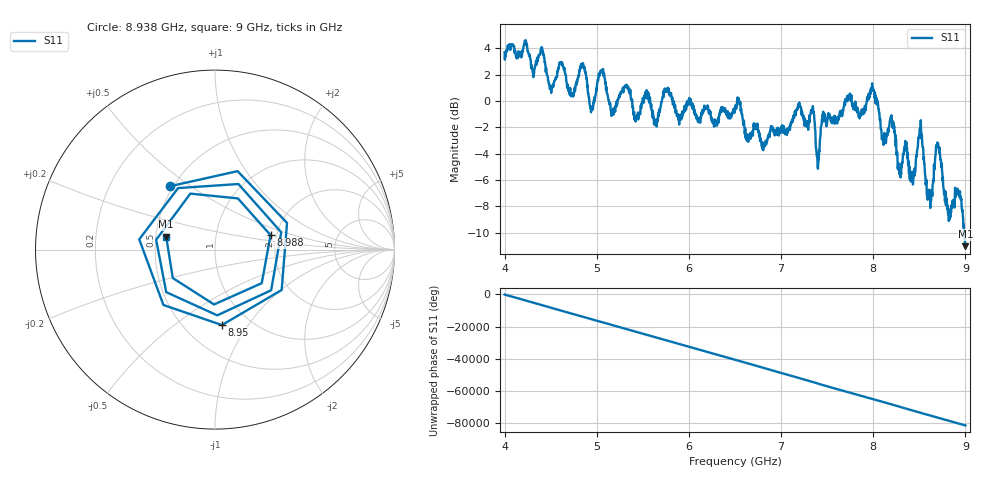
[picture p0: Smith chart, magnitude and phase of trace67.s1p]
! Created with skrf 1.8.0 (http://scikit-rf.org).
# Hz S RI R 50.0
!freq ReS11 ImS11
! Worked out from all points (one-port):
!   1601 points, 4 GHz to 9 GHz, reference 50 ohm
!   lowest |S11| = -11.0 dB at 9 GHz (marker M1), VSWR 1.78, Z = 28.4 + j4.43 ohm
!   |S11| at or under -10 dB: 8.983584 GHz to 8.986062 GHz (2.478 MHz wide, 0.0276 % of centre); 8.991878 GHz to end of sweep
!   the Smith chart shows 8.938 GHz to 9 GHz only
!   S11 on the Smith chart (normalised r, x): 8.938 GHz: 0.48, +0.42; 8.95 GHz: 0.75, -0.76; 8.988 GHz: 1.86, +0.33; 9 GHz: 0.57, +0.09
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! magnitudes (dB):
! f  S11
! 4 GHz  3.7
! 4.625 GHz  2.9
! 4.731 GHz  0.4
! 4.85 GHz  2.9
! 4.944 GHz  -0.7
! 5.047 GHz  2.3
! 5.162 GHz  -1.0
! 5.25 GHz  0.3
! 5.875 GHz  -1.0
! 6.5 GHz  -0.6
! 6.812 GHz  -3.5
! 7.125 GHz  -1.4
! 7.338 GHz  -0.9
! 7.4 GHz  -5.1
! 7.456 GHz  -0.8
! 7.75 GHz  0.4
! 7.994 GHz  1.1
! 8.112 GHz  -3.3
! 8.375 GHz  -3.9
! 8.428 GHz  -5.7
! 8.516 GHz  -1.5
! 8.616 GHz  -6.9
! 8.703 GHz  -3.2
! 8.812 GHz  -8.6
! 8.938 GHz  -7.3
! 8.95 GHz  -7.5
! 8.988 GHz  -9.9
! 9 GHz  -11.0
